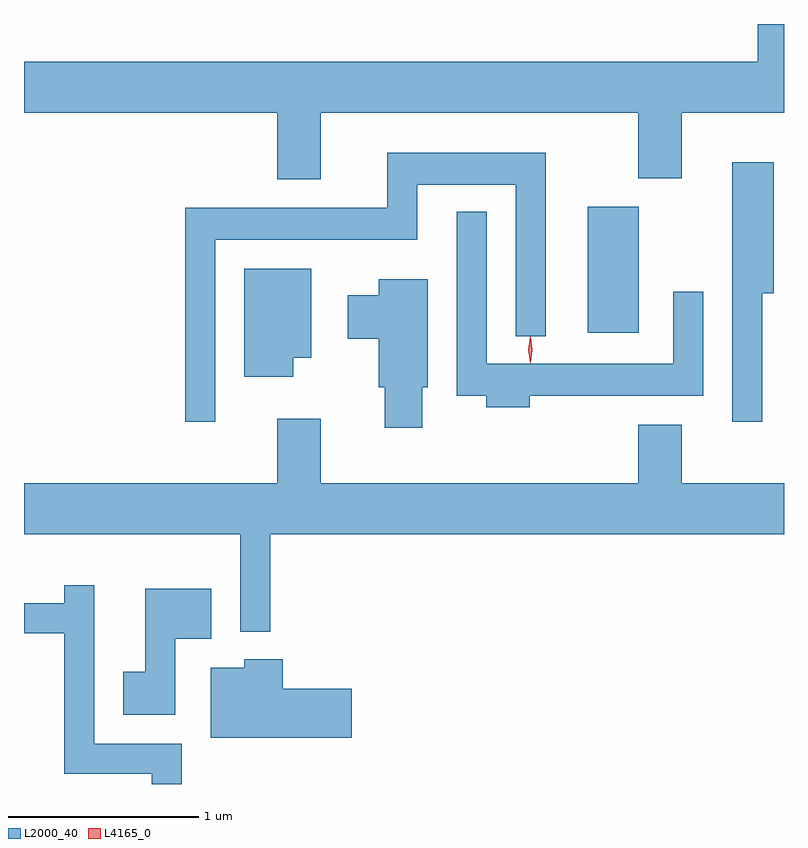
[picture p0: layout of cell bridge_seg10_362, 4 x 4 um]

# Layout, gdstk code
import gdstk
lib = gdstk.Library(unit=1e-6, precision=1e-09)
def R(c, l, rs):  # rectangles x0, y0, x1, y1
    for r in rs: c.add(gdstk.rectangle(r[:2], r[2:], *l))
def P(c, l, *ps):  # polygons
    for p in ps: c.add(gdstk.Polygon(p, *l))
L2000_40 = (2000, 40)
L4165_0 = (4165, 0)

bridge_seg10_362 = lib.new_cell('bridge_seg10_362')
R(bridge_seg10_362, L2000_40, [(1060.706,2126.076,1060.974,2126.739)])
P(bridge_seg10_362, L2000_40, [(1059.299,2127.236),(1060.971,2127.236),(1060.971,2126.891),(1061.199,2126.891),(1061.199,2127.236),(1061.738,2127.236),(1061.738,2127.702),(1061.601,2127.702),(1061.601,2127.504),(1057.738,2127.504),(1057.738,2127.236),(1059.071,2127.236),(1059.071,2126.886),(1059.299,2126.886)],
  [(1058.744,2126.566),(1059.809,2126.566),(1059.809,2126.856),(1060.326,2126.856),(1060.326,2126.058),(1060.484,2126.058),(1060.484,2127.024),(1059.651,2127.024),(1059.651,2126.734),(1058.586,2126.734),(1058.586,2125.608),(1058.744,2125.608)],
  [(1061.624,2126.286),(1061.684,2126.286),(1061.684,2126.974),(1061.466,2126.974),(1061.466,2125.608),(1061.624,2125.608)],
  [(1060.399,2125.746),(1061.314,2125.746),(1061.314,2126.293),(1061.156,2126.293),(1061.156,2125.914),(1060.174,2125.914),(1060.174,2126.713),(1060.016,2126.713),(1060.016,2125.746),(1060.171,2125.746),(1060.171,2125.686),(1060.399,2125.686)],
  [(1059.154,2125.946),(1059.249,2125.946),(1059.249,2126.414),(1058.896,2126.414),(1058.896,2125.846),(1059.154,2125.846)],
  [(1059.834,2125.791),(1059.864,2125.791),(1059.864,2126.359),(1059.606,2126.359),(1059.606,2126.274),(1059.441,2126.274),(1059.441,2126.046),(1059.606,2126.046),(1059.606,2125.791),(1059.636,2125.791),(1059.636,2125.576),(1059.834,2125.576)],
  [(1059.034,2125.016),(1061.738,2125.016),(1061.738,2125.284),(1061.199,2125.284),(1061.199,2125.594),(1060.971,2125.594),(1060.971,2125.284),(1059.299,2125.284),(1059.299,2125.624),(1059.071,2125.624),(1059.071,2125.284),(1057.738,2125.284),(1057.738,2125.016),(1058.876,2125.016),(1058.876,2124.503),(1059.034,2124.503)],
  [(1058.569,2123.914),(1058.109,2123.914),(1058.109,2124.748),(1057.951,2124.748),(1057.951,2124.654),(1057.738,2124.654),(1057.738,2124.496),(1057.951,2124.496),(1057.951,2123.756),(1058.411,2123.756),(1058.411,2123.702),(1058.569,2123.702)],
  [(1058.534,2124.466),(1058.724,2124.466),(1058.724,2124.729),(1058.376,2124.729),(1058.376,2124.294),(1058.261,2124.294),(1058.261,2124.066),(1058.534,2124.066)],
  [(1059.464,2124.204),(1059.099,2124.204),(1059.099,2124.359),(1058.896,2124.359),(1058.896,2124.314),(1058.721,2124.314),(1058.721,2123.946),(1059.464,2123.946)])
P(bridge_seg10_362, L4165_0, [(1060.403,2125.917),(1060.402,2125.918),(1060.393,2125.987),(1060.402,2126.056),(1060.403,2126.056),(1060.404,2126.056),(1060.413,2125.987),(1060.404,2125.918)])

lib.write_gds('bridge_seg10_362.gds')
